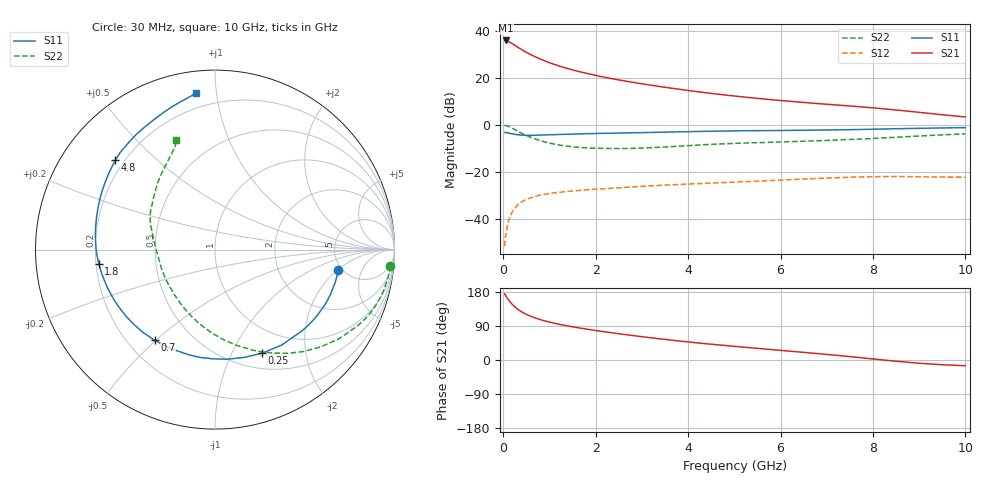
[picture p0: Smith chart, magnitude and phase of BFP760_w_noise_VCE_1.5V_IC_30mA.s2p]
! Infineon Technologies  Discrete & RF Semiconductors
! BFP760
! VCE =  1.5 V,  IC =  30 mA
! Common Emitter S-Parameters:  Nov 2012
# GHz  S  MA  R  50
!  f  S11  S21  S12  S22
! GHz  MAG  ANG  MAG  ANG  MAG  ANG  MAG  ANG
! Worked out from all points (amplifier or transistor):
!   99 points, 30 MHz to 10 GHz, reference 50 ohm
!   highest |S21| = 36.1 dB at 50 MHz (marker M1)
!   |S21| within 3 dB of that: start of sweep to 325.2 MHz
!   unconditionally stable (mu >= 1): 4.162 GHz to end of sweep
!   at 350 MHz: K = 0.27, MSG = 33.1 dB, |S12| = -33.5 dB
!   at 3.5 GHz: K = 0.94, MSG = 20.9 dB, |S12| = -25.6 dB
!   at 10 GHz: K = 1.09, MAG = 11.0 dB, |S12| = -22.2 dB
!   lowest NFmin = 0.75 dB at 900 MHz
!   S11 on the Smith chart (normalised r, x): 30 MHz: 4.63, -2.03; 250 MHz: 0.68, -1.32; 700 MHz: 0.31, -0.50; 1.8 GHz: 0.21, -0.06; 4.8 GHz: 0.17, +0.37; 10 GHz: 0.11, +0.88
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0.03  0.6948 -9.4  63.19 174.7  0.0026 84.7  0.9788 -5.3
0.05  0.6941 -15.4  63.81 170.2  0.0045 84.6  0.9758 -9.4
0.07  0.6903 -21.2  63.22 166.6  0.0055 81.8  0.9678 -13.4
0.1  0.6806 -29.8  61.38 161.2  0.0082 77.0  0.9477 -19.2
0.15  0.6633 -43.1  57.97 153.2  0.0112 71.1  0.9013 -28.1
0.2  0.6488 -55.0  54.14 146.3  0.0143 66.4  0.8499 -35.9
0.25  0.6341 -65.5  50.5 140.4  0.0167 62.1  0.7983 -42.9
0.35  0.6145 -83.5  43.54 130.8  0.0211 56.1  0.7073 -54.8
0.45  0.6067 -97.7  38.02 123.5  0.0245 50.9  0.6325 -64.7
0.6  0.6046 -114.7  31.65 115.1  0.0282 45.3  0.5457 -77.5
0.7  0.607 -123.6  28.34 110.6  0.0302 42.6  0.502 -85.0
0.9  0.6151 -137.7  23.35 103.1  0.0333 38.8  0.4358 -98.4
1.1  0.6232 -148.6  19.75 97.1  0.0357 35.8  0.3918 -110.0
1.7  0.648 -170.4  13.39 83.5  0.0406 31.9  0.3295 -137.1
1.8  0.6523 -173.1  12.69 81.6  0.0414 31.4  0.3265 -140.9
2.5  0.6744 171.0  9.182 69.3  0.0459 29.9  0.3154 -163.1
3.4  0.7022 155.3  6.608 55.7  0.0515 28.5  0.3363 175.1
4.8  0.7454 138.1  4.378 38.3  0.0594 25.8  0.3981 155.0
5.1  0.7525 135.6  4.067 35.0  0.0611 25.3  0.4089 152.0
6.7  0.7785 123.8  2.928 18.0  0.0717 21.2  0.4583 137.2
8.5  0.8336 106.2  2.097 -3.3  0.0797 10.7  0.5476 119.8
10  0.8797 96.8  1.489 -15.1  0.0772 6.3  0.6477 109.5
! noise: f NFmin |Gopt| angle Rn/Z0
0.9  0.75  0.17  -168  0.1
1.8  0.8  0.19  -157  0.06
2.4  0.85  0.19  -148  0.08
3.5  0.96  0.2  -140  0.1
5.5  1.18  0.27  -99  0.3
8  1.48  0.39  -73  0.42
